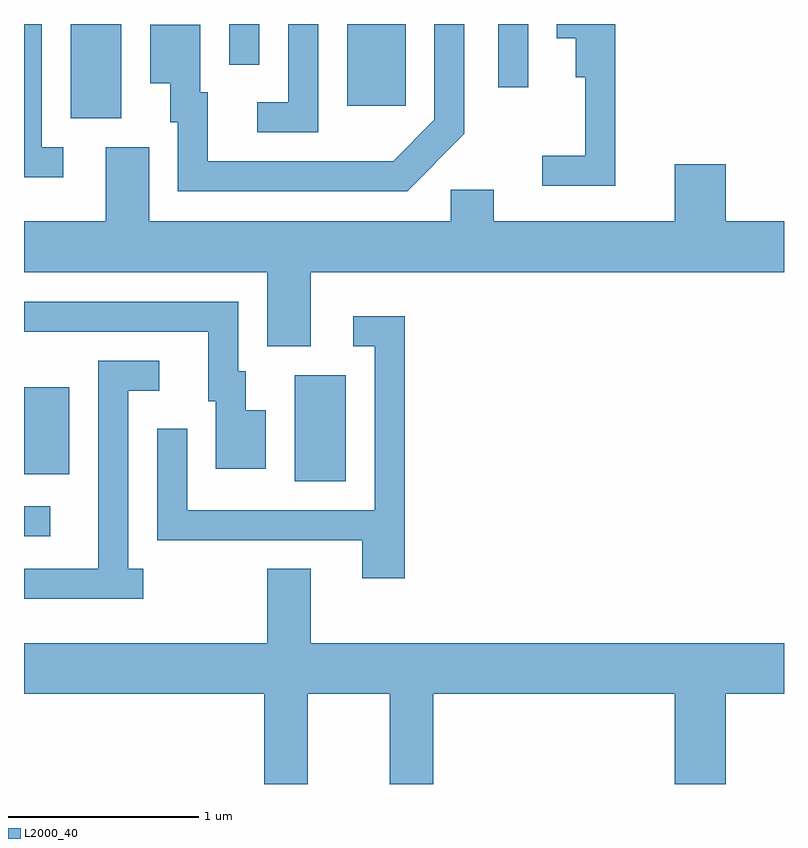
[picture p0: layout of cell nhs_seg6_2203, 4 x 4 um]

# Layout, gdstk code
import gdstk
lib = gdstk.Library(unit=1e-6, precision=1e-09)
def R(c, l, rs):  # rectangles x0, y0, x1, y1
    for r in rs: c.add(gdstk.rectangle(r[:2], r[2:], *l))
def P(c, l, *ps):  # polygons
    for p in ps: c.add(gdstk.Polygon(p, *l))
L2000_40 = (2000, 40)

nhs_seg6_2203 = lib.new_cell('nhs_seg6_2203')
R(nhs_seg6_2203, L2000_40, [(251.611,1617.466,251.748,1617.624), (253.036,1617.756,253.304,1618.314), (251.611,1617.791,251.849,1618.249), (251.856,1619.666,252.124,1620.162), (253.311,1619.731,253.619,1620.162), (254.106,1619.828,254.264,1620.162), (252.691,1619.948,252.849,1620.162)])
P(nhs_seg6_2203, L2000_40, [(254.724,1620.162),(254.416,1620.162),(254.416,1620.086),(254.516,1620.086),(254.516,1619.881),(254.566,1619.881),(254.566,1619.469),(254.338,1619.469),(254.338,1619.311),(254.724,1619.311)],
  [(253.159,1620.162),(253.001,1620.162),(253.001,1619.749),(252.838,1619.749),(252.838,1619.591),(253.159,1619.591)],
  [(251.818,1619.514),(251.704,1619.514),(251.704,1620.162),(251.611,1620.162),(251.611,1619.356),(251.818,1619.356)],
  [(253.929,1619.584),(253.929,1620.162),(253.771,1620.162),(253.771,1619.657),(253.554,1619.439),(252.579,1619.439),(252.579,1619.804),(252.539,1619.804),(252.539,1620.159),(252.276,1620.159),(252.276,1619.851),(252.381,1619.851),(252.381,1619.646),(252.421,1619.646),(252.421,1619.281),(253.627,1619.281)],
  [(253.119,1618.856),(255.611,1618.856),(255.611,1619.124),(255.304,1619.124),(255.304,1619.424),(255.036,1619.424),(255.036,1619.124),(254.084,1619.124),(254.084,1619.289),(253.856,1619.289),(253.856,1619.124),(252.269,1619.124),(252.269,1619.514),(252.041,1619.514),(252.041,1619.124),(251.611,1619.124),(251.611,1618.856),(252.891,1618.856),(252.891,1618.466),(253.119,1618.466)],
  [(252.884,1618.129),(252.779,1618.129),(252.779,1618.334),(252.739,1618.334),(252.739,1618.699),(251.611,1618.699),(251.611,1618.541),(252.581,1618.541),(252.581,1618.176),(252.621,1618.176),(252.621,1617.821),(252.884,1617.821)],
  [(253.614,1618.624),(253.343,1618.624),(253.343,1618.466),(253.456,1618.466),(253.456,1617.604),(252.469,1617.604),(252.469,1618.033),(252.311,1618.033),(252.311,1617.446),(253.391,1617.446),(253.391,1617.246),(253.614,1617.246)],
  [(252.238,1617.294),(252.159,1617.294),(252.159,1618.231),(252.323,1618.231),(252.323,1618.389),(252.001,1618.389),(252.001,1617.294),(251.611,1617.294),(251.611,1617.136),(252.238,1617.136)],
  [(253.104,1616.636),(253.536,1616.636),(253.536,1616.162),(253.764,1616.162),(253.764,1616.636),(255.036,1616.636),(255.036,1616.162),(255.304,1616.162),(255.304,1616.636),(255.611,1616.636),(255.611,1616.904),(253.119,1616.904),(253.119,1617.294),(252.891,1617.294),(252.891,1616.904),(251.611,1616.904),(251.611,1616.636),(252.876,1616.636),(252.876,1616.162),(253.104,1616.162)])

lib.write_gds('nhs_seg6_2203.gds')
